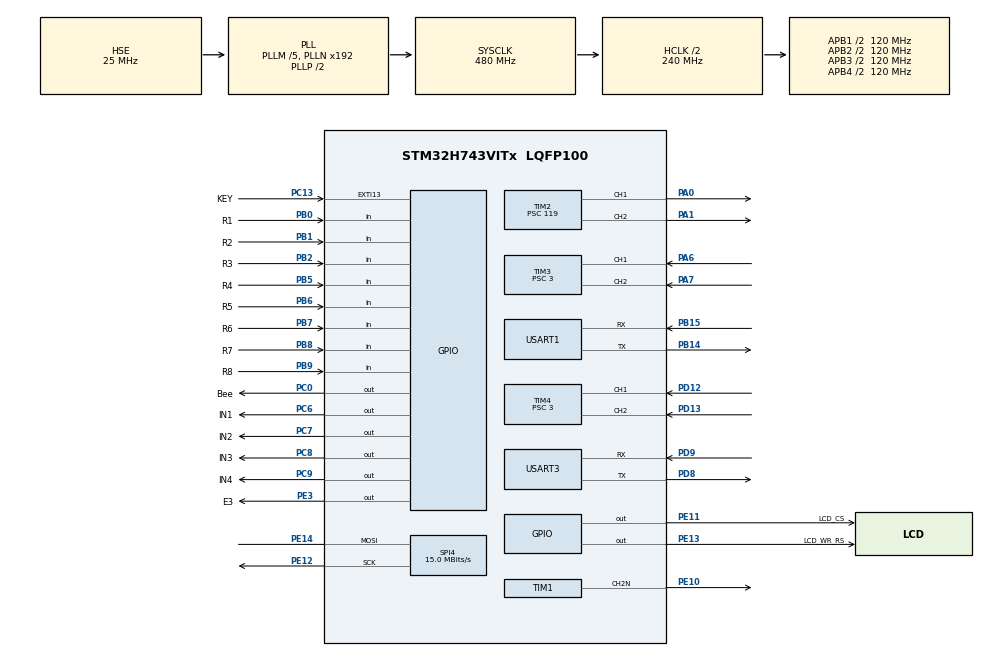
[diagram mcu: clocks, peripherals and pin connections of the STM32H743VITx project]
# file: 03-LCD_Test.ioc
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Mcu.Family=STM32H7
Mcu.Name=STM32H743VITx
Mcu.Package=LQFP100
NVIC.EXTI15_10_IRQn=true\:2\:0\:true\:false\:true\:true\:true
NVIC.PriorityGroup=NVIC_PRIORITYGROUP_4
NVIC.TIM6_DAC_IRQn=true\:2\:0\:true\:false\:true\:true\:true
NVIC.TIM7_IRQn=true\:3\:0\:true\:false\:true\:true\:true
NVIC.USART3_IRQn=true\:0\:0\:false\:false\:true\:true\:true
PA0.Signal=S_TIM2_CH1
PA1.Signal=S_TIM2_CH2
PA13\ (JTMS/SWDIO).Mode=Serial_Wire
PA13\ (JTMS/SWDIO).Signal=DEBUG_JTMS-SWDIO
PA14\ (JTCK/SWCLK).Mode=Serial_Wire
PA14\ (JTCK/SWCLK).Signal=DEBUG_JTCK-SWCLK
PA6.Signal=S_TIM3_CH1
PA7.Signal=S_TIM3_CH2
PB0.GPIO_Label=R1
PB0.Signal=GPIO_Input
PB1.GPIO_Label=R2
PB1.Signal=GPIO_Input
PB14.Mode=Asynchronous
PB14.Signal=USART1_TX
PB15.Mode=Asynchronous
PB15.Signal=USART1_RX
PB2.GPIO_Label=R3
PB2.Signal=GPIO_Input
PB5.GPIO_Label=R4
PB5.Signal=GPIO_Input
PB6.GPIO_Label=R5
PB6.Signal=GPIO_Input
PB7.GPIO_Label=R6
PB7.Signal=GPIO_Input
PB8.GPIO_Label=R7
PB8.Signal=GPIO_Input
PB9.GPIO_Label=R8
PB9.Signal=GPIO_Input
PC0.GPIO_Label=Bee
PC0.PinState=GPIO_PIN_SET
PC0.Signal=GPIO_Output
PC13.GPIO_Label=KEY
PC13.GPIO_ModeDefaultEXTI=GPIO_MODE_IT_FALLING
PC13.GPIO_PuPd=GPIO_NOPULL
PC13.Signal=GPXTI13
PC14-OSC32_IN\ (OSC32_IN).Mode=LSE-External-Oscillator
PC14-OSC32_IN\ (OSC32_IN).Signal=RCC_OSC32_IN
PC15-OSC32_OUT\ (OSC32_OUT).Mode=LSE-External-Oscillator
PC15-OSC32_OUT\ (OSC32_OUT).Signal=RCC_OSC32_OUT
PC6.GPIO_Label=IN1
PC6.Signal=GPIO_Output
PC7.GPIO_Label=IN2
PC7.Signal=GPIO_Output
PC8.GPIO_Label=IN3
PC8.Signal=GPIO_Output
PC9.GPIO_Label=IN4
PC9.Signal=GPIO_Output
PD12.Signal=S_TIM4_CH1
PD13.Signal=S_TIM4_CH2
PD8.Mode=Asynchronous
PD8.Signal=USART3_TX
PD9.Mode=Asynchronous
PD9.Signal=USART3_RX
PE10.Mode=PWM Generation2 CH2N
PE10.Signal=TIM1_CH2N
PE11.GPIO_Label=LCD_CS
PE11.GPIO_Speed=GPIO_SPEED_FREQ_VERY_HIGH
PE11.PinState=GPIO_PIN_SET
PE11.Signal=GPIO_Output
PE12.GPIO_Speed=GPIO_SPEED_FREQ_HIGH
PE12.Mode=Simplex_Bidirectional_Master
PE12.Signal=SPI4_SCK
PE13.GPIO_Label=LCD_WR_RS
PE13.GPIO_Speed=GPIO_SPEED_FREQ_VERY_HIGH
PE13.PinState=GPIO_PIN_SET
PE13.Signal=GPIO_Output
PE14.GPIO_Speed=GPIO_SPEED_FREQ_HIGH
PE14.Mode=Simplex_Bidirectional_Master
PE14.Signal=SPI4_MOSI
PE3.GPIO_Label=E3
PE3.Signal=GPIO_Output
PH0-OSC_IN\ (PH0).Mode=HSE-External-Oscillator
PH0-OSC_IN\ (PH0).Signal=RCC_OSC_IN
PH1-OSC_OUT\ (PH1).Mode=HSE-External-Oscillator
PH1-OSC_OUT\ (PH1).Signal=RCC_OSC_OUT
ProjectManager.HeapSize=0x200
ProjectManager.StackSize=0x400
ProjectManager.TargetToolchain=MDK-ARM V5
RCC.ADCFreq_Value=83333333.33333333
RCC.APB1Freq_Value=120000000
RCC.APB2Freq_Value=120000000
RCC.APB3Freq_Value=120000000
RCC.APB4Freq_Value=120000000
RCC.CortexFreq_Value=480000000
RCC.D1PPRE=RCC_APB3_DIV2
RCC.D2PPRE1=RCC_APB1_DIV2
RCC.D2PPRE2=RCC_APB2_DIV2
RCC.D3PPRE=RCC_APB4_DIV2
RCC.DIVM1=5
RCC.DIVM2=6
RCC.DIVN1=192
RCC.DIVN2=40
RCC.DIVQ2=1
RCC.HCLKFreq_Value=240000000
RCC.HPRE=RCC_HCLK_DIV2
RCC.HSE_VALUE=25000000
RCC.PLLFRACN=0
RCC.PLLSourceVirtual=RCC_PLLSOURCE_HSE
RCC.RTCClockSelection=RCC_RTCCLKSOURCE_LSE
RCC.SYSCLKFreq_VALUE=480000000
RCC.SYSCLKSource=RCC_SYSCLKSOURCE_PLLCLK
RCC.USBFreq_Value=480000000
RTC.Hours=12
RTC.Month=RTC_MONTH_JUNE
RTC.Year=20
SH.S_TIM2_CH1.0=TIM2_CH1,PWM Generation1 CH1
SH.S_TIM2_CH2.0=TIM2_CH2,PWM Generation2 CH2
SH.S_TIM3_CH1.0=TIM3_CH1,Encoder_Interface
SH.S_TIM3_CH2.0=TIM3_CH2,Encoder_Interface
SH.S_TIM4_CH1.0=TIM4_CH1,Encoder_Interface
SH.S_TIM4_CH2.0=TIM4_CH2,Encoder_Interface
SPI4.BaudRatePrescaler=SPI_BAUDRATEPRESCALER_8
SPI4.CalculateBaudRate=15.0 MBits/s
SPI4.DataSize=SPI_DATASIZE_8BIT
SPI4.Direction=SPI_DIRECTION_1LINE
SPI4.Mode=SPI_MODE_MASTER
SPI4.VirtualType=VM_MASTER
TIM1.Channel-PWM\ Generation2\ CH2N=TIM_CHANNEL_2
TIM1.OCNPolarity_2=TIM_OCNPOLARITY_LOW
TIM1.Period=1000-1
TIM1.Prescaler=12-1
TIM2.AutoReloadPreload=TIM_AUTORELOAD_PRELOAD_ENABLE
TIM2.Channel-PWM\ Generation1\ CH1=TIM_CHANNEL_1
TIM2.Channel-PWM\ Generation2\ CH2=TIM_CHANNEL_2
TIM2.Period=7200
TIM2.Prescaler=119
TIM3.AutoReloadPreload=TIM_AUTORELOAD_PRELOAD_ENABLE
TIM3.EncoderMode=TIM_ENCODERMODE_TI12
TIM3.Period=65534
TIM3.Prescaler=3
TIM4.AutoReloadPreload=TIM_AUTORELOAD_PRELOAD_ENABLE
TIM4.EncoderMode=TIM_ENCODERMODE_TI12
TIM4.Period=65534
TIM4.Prescaler=3
TIM6.AutoReloadPreload=TIM_AUTORELOAD_PRELOAD_ENABLE
TIM6.Period=999
TIM6.Prescaler=4799
TIM7.AutoReloadPreload=TIM_AUTORELOAD_PRELOAD_ENABLE
TIM7.Period=999
TIM7.Prescaler=4799
USART1.VirtualMode-Asynchronous=VM_ASYNC
USART3.AutoBaudRateEnableParam=UART_ADVFEATURE_AUTOBAUDRATE_DISABLE
USART3.VirtualMode-Asynchronous=VM_ASYNC
VP_RTC_VS_RTC_Activate.Mode=RTC_Enabled
VP_RTC_VS_RTC_Calendar.Mode=RTC_Calendar
VP_TIM2_VS_ClockSourceINT.Mode=Internal
VP_TIM6_VS_ClockSourceINT.Mode=Enable_Timer
VP_TIM7_VS_ClockSourceINT.Mode=Enable_Timer
board=custom

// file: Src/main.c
/* USER CODE BEGIN Header */
/**
  ******************************************************************************
  * @file           : main.c
  * @brief          : Main program body
  ******************************************************************************
  * @attention
  *
  * <h2><center>&copy; Copyright (c) 2020 STMicroelectronics.
  * All rights reserved.</center></h2>
  *
  * This software component is licensed by ST under BSD 3-Clause license,
  * the "License"; You may not use this file except in compliance with the
  * License. You may obtain a copy of the License at:
  *                        opensource.org/licenses/BSD-3-Clause
  *
  ******************************************************************************
  */
/* USER CODE END Header */
#include "main.h"
#include "rtc.h"
#include "spi.h"
#include "tim.h"
#include "usart.h"
#include "gpio.h"

/* USER CODE BEGIN Includes */
#include "lcd.h"
#include "pid.h"
#include "control.h"
#include "stdlib.h"
#include "stdio.h"
#include "string.h"
#include "pid.h"
#include "atk_imu901.h"
#include "motor.h"
/* USER CODE END Includes */

/* USER CODE BEGIN PTD */
extern int Vertical_out,Velocity_out,Turn_out;//直立环&速度环&转向环 的输出变量
extern float Med_Angle;//机械中值--能使得小车真正平衡住的角度。
extern float Vertical_Kp;
float Pitch,Roll,Yaw;						//角度
short gyrox,gyroy,gyroz;				//陀螺仪--角速度
short aacx,aacy,aacz;						//加速度
int Encoder_Left,Encoder_Right;	//编码器数据（速度）
int PWM_MAX=7200,PWM_MIN=-7200;	//PWM限幅变量
int MOTO1,MOTO2;								//电机装载变量

static uint8_t Get_moter_Flag = 0;
/* USER CODE END PTD */

void SystemClock_Config(void);

/* USER CODE BEGIN 0 */
static void MPU_Config(void)
{
  MPU_Region_InitTypeDef MPU_InitStruct = {0};

  /* Disables the MPU */
  HAL_MPU_Disable();

	/* Configure the MPU attributes for the QSPI 256MB without instruction access */
  MPU_InitStruct.Enable           = MPU_REGION_ENABLE;
  MPU_InitStruct.Number           = MPU_REGION_NUMBER0;
  MPU_InitStruct.BaseAddress      = QSPI_BASE;
  MPU_InitStruct.Size             = MPU_REGION_SIZE_256MB;
  MPU_InitStruct.AccessPermission = MPU_REGION_NO_ACCESS;
  MPU_InitStruct.IsBufferable     = MPU_ACCESS_NOT_BUFFERABLE;
  MPU_InitStruct.IsCacheable      = MPU_ACCESS_NOT_CACHEABLE;
  MPU_InitStruct.IsShareable      = MPU_ACCESS_NOT_SHAREABLE;
  MPU_InitStruct.DisableExec      = MPU_INSTRUCTION_ACCESS_DISABLE;
  MPU_InitStruct.TypeExtField     = MPU_TEX_LEVEL1;
  MPU_InitStruct.SubRegionDisable = 0x00;
  HAL_MPU_ConfigRegion(&MPU_InitStruct);

  /* Configure the MPU attributes for the QSPI 8MB (QSPI Flash Size) to Cacheable WT */
  MPU_InitStruct.Enable           = MPU_REGION_ENABLE;
  MPU_InitStruct.Number           = MPU_REGION_NUMBER1;
  MPU_InitStruct.BaseAddress      = QSPI_BASE;
  MPU_InitStruct.Size             = MPU_REGION_SIZE_8MB;
  MPU_InitStruct.AccessPermission = MPU_REGION_PRIV_RO;
  MPU_InitStruct.IsBufferable     = MPU_ACCESS_BUFFERABLE;
  MPU_InitStruct.IsCacheable      = MPU_ACCESS_CACHEABLE;
  MPU_InitStruct.IsShareable      = MPU_ACCESS_NOT_SHAREABLE;
  MPU_InitStruct.DisableExec      = MPU_INSTRUCTION_ACCESS_ENABLE;
  MPU_InitStruct.TypeExtField     = MPU_TEX_LEVEL1;
  MPU_InitStruct.SubRegionDisable = 0x00;
  HAL_MPU_ConfigRegion(&MPU_InitStruct);

  /* Enables the MPU */
  HAL_MPU_Enable(MPU_PRIVILEGED_DEFAULT);
}

static void CPU_CACHE_Enable(void)
{
  /* Enable I-Cache */
  SCB_EnableICache();

  /* Enable D-Cache */
  SCB_EnableDCache();
}

static void LED_Blink(uint32_t Hdelay,uint32_t Ldelay)
{
	HAL_GPIO_WritePin(E3_GPIO_Port,E3_Pin,GPIO_PIN_SET);
	HAL_Delay(Hdelay - 1);
	HAL_GPIO_WritePin(E3_GPIO_Port,E3_Pin,GPIO_PIN_RESET);
	HAL_Delay(Ldelay-1);
}

/**
  * @brief  Get the current time and date.
  * @param
  * @retval None
  */
static void RTC_CalendarShow(RTC_DateTypeDef *sdatestructureget,RTC_TimeTypeDef *stimestructureget)
{
  /* 必须同时获取时间和日期 不然会导致下次RTC不能读取 */
  /* Both time and date must be obtained or RTC cannot be read next time */
  /* Get the RTC current Time */
  HAL_RTC_GetTime(&hrtc, stimestructureget, RTC_FORMAT_BIN);
  /* Get the RTC current Date */
  HAL_RTC_GetDate(&hrtc, sdatestructureget, RTC_FORMAT_BIN);
}
#pragma import(__use_no_semihosting)
/* 解决HAL库使用时, 某些情况可能报错的bug */
int _ttywrch(int ch)
{
    ch = ch;
    return ch;
}

/* 解决HAL库使用时, 某些情况可能报错的bug */
struct __FILE
{
    int handle;
    /* Whatever you require here. If the only file you are using is */
    /* standard output using printf() for debugging, no file handling */
    /* is required. */
};

/* FILE is typedef’ d in stdio.h. */
FILE __stdout;

/* 定义_sys_exit()以避免使用半主机模式 */
void _sys_exit(int x)
{
    x = x;
}
///* 重定义fputc函数, printf函数最终会通过调用fputc输出字符串到串口 */
int fputc(int ch, FILE *f)
{
    HAL_UART_Transmit(&huart1 , (uint8_t *)&ch, 1, 0xFFF);
    return ch;
}

/* USER CODE END 0 */

int main(void)
{
  /* USER CODE BEGIN 1 */

  #ifdef W25Qxx
    SCB->VTOR = QSPI_BASE;
  #endif
  MPU_Config();
  CPU_CACHE_Enable();
	uint8_t uart_temp[100];
    uint8_t ch;
	uint32_t times = 0;
	int PWM_out;
	uint32_t Lcd_Temp[20];
  /* USER CODE END 1 */

  /* MCU Configuration--------------------------------------------------------*/

  /* Reset of all peripherals, Initializes the Flash interface and the Systick. */
  HAL_Init();

  /* Configure the system clock */
  SystemClock_Config();

  /* Initialize all configured peripherals */
  MX_GPIO_Init();
  MX_RTC_Init();
  MX_SPI4_Init();
  MX_TIM1_Init();
  MX_TIM3_Init();
  MX_TIM4_Init();
  MX_TIM2_Init();
  MX_TIM7_Init();
  MX_TIM6_Init();
  MX_USART1_UART_Init();
  MX_USART3_UART_Init();
  /* USER CODE BEGIN 2 */
	//LCD_Test();
    __HAL_UART_ENABLE_IT(&huart3, UART_IT_RXNE);
	HAL_Delay(100);
	imu901_init();							/* IMU901模块初始 */
	//HAL_Delay(1000);//等待校准
	HAL_TIM_Encoder_Start(&htim3, TIM_CHANNEL_1); // 开启编码器A0
	HAL_TIM_Encoder_Start(&htim3, TIM_CHANNEL_2); // 开启编码器A1
	HAL_TIM_Encoder_Start(&htim4, TIM_CHANNEL_1); // 开启编码器B0
	HAL_TIM_Encoder_Start(&htim4, TIM_CHANNEL_2); // 开启编码器B1

		HAL_TIM_PWM_Start(&htim2,TIM_CHANNEL_1);	//打开电机调速
		HAL_TIM_PWM_Start(&htim2,TIM_CHANNEL_2);
	HAL_TIM_Base_Start_IT(&htim6);                // 使能定时器中断(10ms)
  /* USER CODE END 2 */

  /* Infinite loop */
  /* USER CODE BEGIN WHILE */

  while (1)
  {
	  //HAL_Delay(50);
	  //HAL_Delay(100);
	  //HAL_GPIO_TogglePin(E3_GPIO_Port,E3_Pin);

//		float Pitch,Roll,Yaw;						//角度
//		short gyrox,gyroy,gyroz;				//陀螺仪--角速度
//		short aacx,aacy,aacz;						//加速度

      //printf("姿态角[XYZ]:    %-6.1f     %-6.1f     %-6.1f   (°)\r\n", attitude.roll, attitude.pitch, attitude.yaw);
      //printf("加速度[XYZ]:    %-6.3f     %-6.3f     %-6.3f   (g)\r\n", gyroAccData.faccG[0], gyroAccData.faccG[1], gyroAccData.faccG[2]);
//	    printf("姿态角Y,Pitch:%-6.1f °\r\n", attitude.pitch);
//      printf("加速度YZ,gyroy:%-6.3f,gyroz:%-6.3f g\r\n",gyroAccData.faccG[1], gyroAccData.faccG[2]);
		while(imu901_uart_receive(&ch, 1)) 	/*!< 获取串口fifo一个字节 */
		{
					if(imu901_unpack(ch)) 			/*!< 解析出有效数据包 */
					{
						if(rxPacket.startByte2 == UP_BYTE2) 			/*!< 主动上传的数据包 */
						{
							atkpParsing(&rxPacket);
						}
					}
		}

			Pitch = attitude.pitch;
			gyroy = gyroAccData.fgyroD[1];
			gyroz = gyroAccData.fgyroD[2];
			HAL_GPIO_TogglePin(E3_GPIO_Port,E3_Pin);
			//printf("Left:%d,Right:%d\r\n",Encoder_Left,Encoder_Right);

			//2.将数据压入闭环控制中，计算出控制输出量。
			Vertical_out=Vertical(Med_Angle,Pitch,gyroy);				//直立环
			Velocity_out=Velocity(Encoder_Left,Encoder_Right);	//速度环
			Turn_out=Turn(gyroz);																//转向环
			PWM_out=Vertical_out-Vertical_Kp*Velocity_out;//最终输出
			//printf("PWM_out:%d\r\n",PWM_out);
			//3.把控制输出量加载到电机上，完成最终的的控制。
			MOTO1=PWM_out-Turn_out;//左电机
			MOTO2=PWM_out+Turn_out;//右电机
			Limit(&MOTO1,&MOTO2);//PWM限幅
			Load(MOTO1,MOTO2);//加载到电机上。
			Get_moter_Flag = 0;
			printf("%-6.1f,%-6.3f,%-6.3f,%d,%d,%d\r\n", attitude.pitch,gyroAccData.faccG[1], gyroAccData.faccG[2],Encoder_Left,Encoder_Right,PWM_out);
			HAL_GPIO_TogglePin(E3_GPIO_Port,E3_Pin);

    /* USER CODE END WHILE */

  }
}

void SystemClock_Config(void)
{
  RCC_OscInitTypeDef RCC_OscInitStruct = {0};
  RCC_ClkInitTypeDef RCC_ClkInitStruct = {0};

  /** Supply configuration update enable
  */
  HAL_PWREx_ConfigSupply(PWR_LDO_SUPPLY);
  /** Configure the main internal regulator output voltage
  */
  __HAL_PWR_VOLTAGESCALING_CONFIG(PWR_REGULATOR_VOLTAGE_SCALE0);

  while(!__HAL_PWR_GET_FLAG(PWR_FLAG_VOSRDY)) {}
  /** Configure LSE Drive Capability
  */
  HAL_PWR_EnableBkUpAccess();
  __HAL_RCC_LSEDRIVE_CONFIG(RCC_LSEDRIVE_LOW);
  /** Initializes the RCC Oscillators according to the specified parameters
  * in the RCC_OscInitTypeDef structure.
  */
  RCC_OscInitStruct.OscillatorType = RCC_OSCILLATORTYPE_HSE|RCC_OSCILLATORTYPE_LSE;
  RCC_OscInitStruct.HSEState = RCC_HSE_ON;
  RCC_OscInitStruct.LSEState = RCC_LSE_ON;
  RCC_OscInitStruct.PLL.PLLState = RCC_PLL_ON;
  RCC_OscInitStruct.PLL.PLLSource = RCC_PLLSOURCE_HSE;
  RCC_OscInitStruct.PLL.PLLM = 5;
  RCC_OscInitStruct.PLL.PLLN = 192;
  RCC_OscInitStruct.PLL.PLLP = 2;
  RCC_OscInitStruct.PLL.PLLQ = 2;
  RCC_OscInitStruct.PLL.PLLR = 2;
  RCC_OscInitStruct.PLL.PLLRGE = RCC_PLL1VCIRANGE_2;
  RCC_OscInitStruct.PLL.PLLVCOSEL = RCC_PLL1VCOWIDE;
  RCC_OscInitStruct.PLL.PLLFRACN = 0;
  if (HAL_RCC_OscConfig(&RCC_OscInitStruct) != HAL_OK)
  {
    Error_Handler();
  }
  /** Initializes the CPU, AHB and APB buses clocks
  */
  RCC_ClkInitStruct.ClockType = RCC_CLOCKTYPE_HCLK|RCC_CLOCKTYPE_SYSCLK
                              |RCC_CLOCKTYPE_PCLK1|RCC_CLOCKTYPE_PCLK2
                              |RCC_CLOCKTYPE_D3PCLK1|RCC_CLOCKTYPE_D1PCLK1;
  RCC_ClkInitStruct.SYSCLKSource = RCC_SYSCLKSOURCE_PLLCLK;
  RCC_ClkInitStruct.SYSCLKDivider = RCC_SYSCLK_DIV1;
  RCC_ClkInitStruct.AHBCLKDivider = RCC_HCLK_DIV2;
  RCC_ClkInitStruct.APB3CLKDivider = RCC_APB3_DIV2;
  RCC_ClkInitStruct.APB1CLKDivider = RCC_APB1_DIV2;
  RCC_ClkInitStruct.APB2CLKDivider = RCC_APB2_DIV2;
  RCC_ClkInitStruct.APB4CLKDivider = RCC_APB4_DIV2;

  if (HAL_RCC_ClockConfig(&RCC_ClkInitStruct, FLASH_LATENCY_4) != HAL_OK)
  {
    Error_Handler();
  }
}

/* USER CODE BEGIN 4 */
void HAL_TIM_PeriodElapsedCallback(TIM_HandleTypeDef *htim)
{
    if (htim == (&htim7))
    {

    }
    if (htim == (&htim6))
    {

		GetMotorPulse();

//		Pitch = attitude.pitch;
//		gyroy = gyroAccData.faccG[1];
//		gyroz = gyroAccData.faccG[2];
    }
}

/* USER CODE END 4 */

void Error_Handler(void)
{
  /* USER CODE BEGIN Error_Handler_Debug */
  /* User can add his own implementation to report the HAL error return state */
  LED_Blink(500,500);
  /* USER CODE END Error_Handler_Debug */
}

/************************ (C) COPYRIGHT STMicroelectronics *****END OF FILE****/
